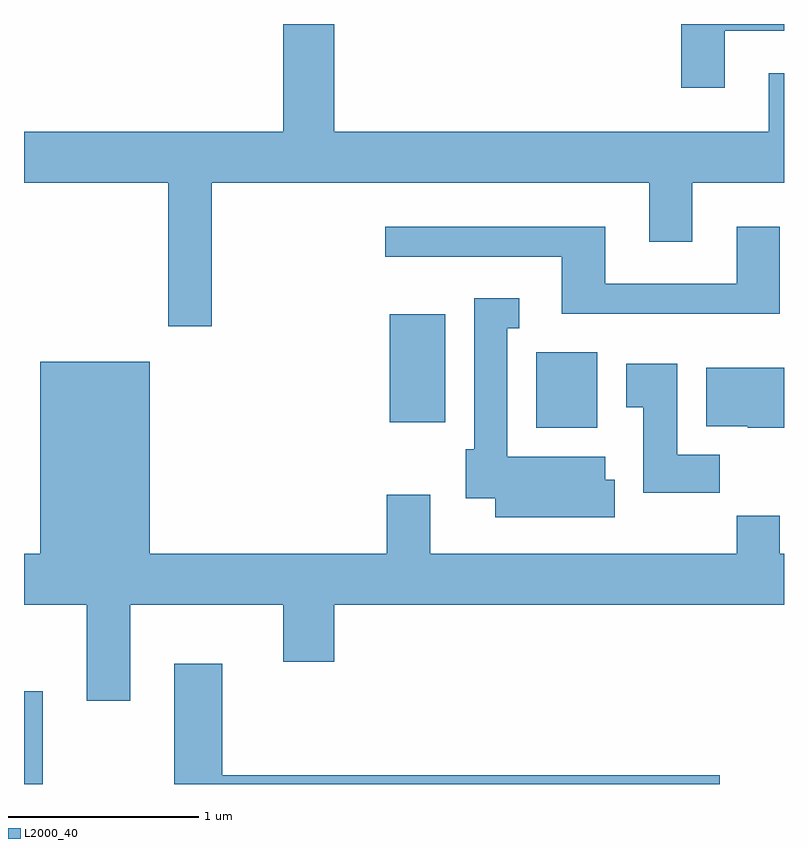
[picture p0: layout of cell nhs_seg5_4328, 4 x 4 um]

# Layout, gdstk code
import gdstk
lib = gdstk.Library(unit=1e-6, precision=1e-09)
def R(c, l, rs):  # rectangles x0, y0, x1, y1
    for r in rs: c.add(gdstk.rectangle(r[:2], r[2:], *l))
def P(c, l, *ps):  # polygons
    for p in ps: c.add(gdstk.Polygon(p, *l))
L2000_40 = (2000, 40)

nhs_seg5_4328 = lib.new_cell('nhs_seg5_4328')
R(nhs_seg5_4328, L2000_40, [(313.611,1458.072,313.709,1458.559), (316.306,1459.946,316.629,1460.344), (315.536,1459.976,315.829,1460.544)])
P(nhs_seg5_4328, L2000_40, [(314.599,1461.236),(316.901,1461.236),(316.901,1460.926),(317.129,1460.926),(317.129,1461.236),(317.611,1461.236),(317.611,1461.814),(317.531,1461.814),(317.531,1461.504),(315.244,1461.504),(315.244,1462.072),(314.976,1462.072),(314.976,1461.504),(313.611,1461.504),(313.611,1461.236),(314.371,1461.236),(314.371,1460.481),(314.599,1460.481)],
  [(317.299,1462.036),(317.611,1462.036),(317.611,1462.072),(317.071,1462.072),(317.071,1461.736),(317.299,1461.736)],
  [(317.589,1461.004),(317.361,1461.004),(317.361,1460.704),(316.669,1460.704),(316.669,1461.004),(315.513,1461.004),(315.513,1460.846),(316.441,1460.846),(316.441,1460.546),(317.589,1460.546)],
  [(316.719,1459.674),(316.669,1459.674),(316.669,1459.794),(316.154,1459.794),(316.154,1460.471),(316.218,1460.471),(316.218,1460.629),(315.981,1460.629),(315.981,1459.834),(315.936,1459.834),(315.936,1459.576),(316.091,1459.576),(316.091,1459.476),(316.719,1459.476)],
  [(314.169,1459.016),(314.976,1459.016),(314.976,1458.716),(315.244,1458.716),(315.244,1459.016),(317.611,1459.016),(317.611,1459.284),(317.589,1459.284),(317.589,1459.484),(317.361,1459.484),(317.361,1459.284),(315.749,1459.284),(315.749,1459.594),(315.521,1459.594),(315.521,1459.284),(314.274,1459.284),(314.274,1460.294),(313.696,1460.294),(313.696,1459.284),(313.611,1459.284),(313.611,1459.016),(313.941,1459.016),(313.941,1458.511),(314.169,1458.511)],
  [(317.274,1459.804),(317.049,1459.804),(317.049,1460.284),(316.781,1460.284),(316.781,1460.056),(316.871,1460.056),(316.871,1459.606),(317.274,1459.606)],
  [(317.611,1460.264),(317.201,1460.264),(317.201,1459.956),(317.42,1459.956),(317.42,1459.946),(317.611,1459.946)],
  [(317.274,1458.119),(314.654,1458.119),(314.654,1458.704),(314.401,1458.704),(314.401,1458.072),(317.274,1458.072)])

lib.write_gds('nhs_seg5_4328.gds')
